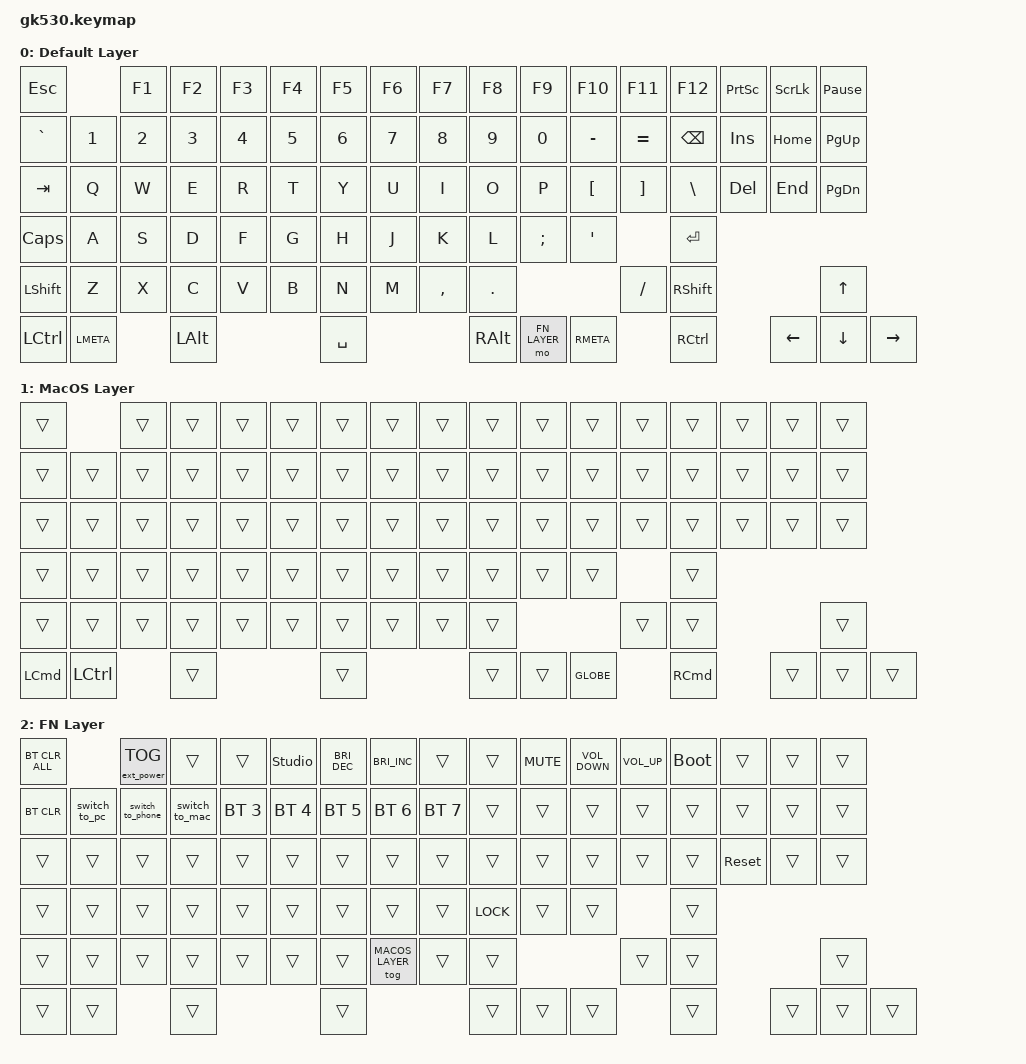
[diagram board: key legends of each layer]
#include <behaviors.dtsi>
#include <dt-bindings/zmk/keys.h>
#include <dt-bindings/zmk/bt.h>
#include <dt-bindings/zmk/ext_power.h>
#include <dt-bindings/zmk/outputs.h>

#include "./key_indices.dtsi"

#define DEFAULT_LAYER 0
#define MACOS_LAYER 1
#define FN_LAYER 2

#define BT_PROFILE_PC 0
#define BT_PROFILE_PHONE 1
#define BT_PROFILE_MAC 2

/ {
  behaviors {
    tog_on: tog_on {
      compatible = "zmk,behavior-toggle-layer";
      display-name = "Toggle On";
      #binding-cells = <1>;
      toggle-mode = "on";
    };

    tog_off: tog_off {
      compatible = "zmk,behavior-toggle-layer";
      display-name = "Toggle Off";
      #binding-cells = <1>;
      toggle-mode = "off";
    };
  };

  macros {
    switch_to_mac: switch_to_mac {
      compatible = "zmk,behavior-macro";
      #binding-cells = <0>;
      bindings
          = <&bt BT_SEL BT_PROFILE_MAC>
          , <&tog_on MACOS_LAYER>
          ;
    };

    switch_to_phone: switch_to_phone {
      compatible = "zmk,behavior-macro";
      #binding-cells = <0>;
      bindings
          = <&bt BT_SEL BT_PROFILE_PHONE>
          , <&tog_off MACOS_LAYER>
          ;
    };

    switch_to_pc: switch_to_pc {
      compatible = "zmk,behavior-macro";
      #binding-cells = <0>;
      bindings
          = <&bt BT_SEL BT_PROFILE_PC>
          , <&tog_off MACOS_LAYER>
          ;
    };
  };

  combos {
    compatible = "zmk,combos";
    combo_bootloader {
      timeout-ms = <100>;
      key-positions = <IDX_ESC IDX_F1 IDX_F12>;
      bindings = <&bootloader>;
    };
  };

  keymap {
    compatible = "zmk,keymap";

    default_layer {
      display-name = "Default Layer";
// ---------------------------------------------------------------------------------------------------------------------------
// | ESC | |  F1  |  F2  |  F3  |  F4  | |  F5  | F6  | F7  | F8  |  |  F9  | F10  | F11  | F12  |   | PRTSC | SCRLK | PAUSE |
// |-------------------------------------------------------------------------------------------------------------------------|
// |  `  |  1  |  2  |  3  |  4  |  5  |  6  |  7  |  8  |  9  |  0  |  -  |  =  |      BSPC     |   | INS   | HOME  | PGUP  |
// |  TAB    |  Q  |  W  |  E  |  R  |  T  |  Y  |  U  |  I  |  O  |  P  |  [  |  ]  |       \   |   | DEL   | END   | PGDN  |
// |  CAPS     |  A  |  S  |  D  |  F  |  G  |  H  |  J  |  K  |  L  |  ;  |  '  |       ENTER   |
// |    SHIFT      |  Z  |  X  |  C  |  V  |  B  |  N  |  M  |  ,  |  .  |  /  |          SHIFT  |   |       |  UP   |       |
// | CTRL | WIN | ALT |                 SPACE                  | ALT     | MO(2) |  MENU |  CTRL |   | LEFT  | DOWN  | RIGHT |
// ---------------------------------------------------------------------------------------------------------------------------
        bindings = <
&kp ESC     &kp F1 &kp F2 &kp F3 &kp F4      &kp F5 &kp F6 &kp F7 &kp F8     &kp F9 &kp F10 &kp F11 &kp F12          &kp PRINTSCREEN &kp SCROLLLOCK &kp PAUSE_BREAK
&kp GRAVE &kp N1 &kp N2 &kp N3 &kp N4 &kp N5 &kp N6 &kp N7 &kp N8 &kp N9 &kp N0 &kp MINUS &kp EQUAL &kp BACKSPACE    &kp INSERT &kp HOME &kp PG_UP
&kp TAB  &kp Q  &kp W  &kp E  &kp R  &kp T  &kp Y  &kp U  &kp I &kp O &kp P  &kp LBKT &kp RBKT      &kp BSLH         &kp DELETE &kp END &kp PG_DN
&kp CAPS  &kp A  &kp S  &kp D  &kp F  &kp G  &kp H  &kp J  &kp K &kp L &kp SEMI &kp SINGLE_QUOTE    &kp ENTER
&kp LSHFT  &kp Z  &kp X  &kp C  &kp V  &kp B  &kp N  &kp M  &kp COMMA &kp DOT &kp FSLH              &kp RSHFT                       &kp UP_ARROW
&kp LCTRL &kp LMETA &kp LALT               &kp SPACE        &kp  RALT  &mo FN_LAYER &kp  RMETA      &kp RCTRL        &kp LEFT_ARROW &kp DOWN_ARROW &kp RIGHT_ARROW
        >;
    };

    macos_layer {
      display-name = "MacOS Layer";
      bindings = <
&trans        &trans &trans &trans &trans &trans &trans &trans &trans &trans &trans &trans &trans   &trans &trans &trans
&trans &trans &trans &trans &trans &trans &trans &trans &trans &trans &trans &trans &trans &trans   &trans &trans &trans
&trans &trans &trans &trans &trans &trans &trans &trans &trans &trans &trans &trans &trans &trans   &trans &trans &trans
&trans &trans &trans &trans &trans &trans &trans &trans &trans &trans &trans &trans        &trans
&trans &trans &trans &trans &trans &trans &trans &trans &trans &trans               &trans &trans              &trans
&kp LCMD &kp LCTRL &trans               &trans                   &trans &trans &kp GLOBE &kp RCMD       &trans &trans &trans
      >;
    };

    fn_layer {
        display-name = "FN Layer";

        // ESC = BT_CLR_ALL
        // GRAVE = BT_CLR
        // N1 = switch_to_pc macro
        // N2 = switch_to_phone macro
        // N3 = switch_to_mac macro
        // N4-N8 = BT_SEL
        // DELETE = sys_reset
        // F1 = ext_power EP_TOG
        // F4 = studio_unlock
        // F5 = C_BRIGHTNESS_DEC
        // F6 = C_BRIGHTNESS_INC
        // F8 = ??? no key for microphone mute
        // F9 = C_MUTE
        // F10 = C_VOLUME_DOWN
        // F11 = C_VOLUME_UP
        // F12 = bootloader
        // L = K_LOCK
        // M = toggle Mac layer
        bindings = <
&bt BT_CLR_ALL &ext_power EP_TOG &trans &trans &studio_unlock &kp C_BRIGHTNESS_DEC &kp C_BRIGHTNESS_INC &trans &trans &kp C_MUTE &kp C_VOLUME_DOWN &kp C_VOLUME_UP &bootloader &trans &trans &trans
&bt BT_CLR &switch_to_pc &switch_to_phone &switch_to_mac &bt BT_SEL 3 &bt BT_SEL 4 &bt BT_SEL 5 &bt BT_SEL 6 &bt BT_SEL 7 &trans &trans &trans &trans &trans   &trans &trans &trans
&trans &trans &trans &trans &trans &trans &trans &trans &trans &trans &trans &trans &trans &trans   &sys_reset &trans &trans
&trans &trans &trans &trans &trans &trans &trans &trans &trans &kp K_LOCK &trans &trans &trans
&trans &trans &trans &trans &trans &trans &trans &tog MACOS_LAYER &trans &trans &trans &trans              &trans
&trans &trans &trans               &trans                      &trans &trans &trans &trans          &trans &trans &trans
        >;
    };
  };
};



//            bindings = <
//    &trans        &trans &trans &trans &trans &trans &trans &trans &trans &trans &trans &trans &trans   &trans &trans &trans
//    &trans &trans &trans &trans &trans &trans &trans &trans &trans &trans &trans &trans &trans &trans   &trans &trans &trans
//    &trans &trans &trans &trans &trans &trans &trans &trans &trans &trans &trans &trans &trans &trans   &trans &trans &trans
//    &trans &trans &trans &trans &trans &trans &trans &trans &trans &trans &trans &trans        &trans
//    &trans &trans &trans &trans &trans &trans &trans &trans &trans &trans               &trans &trans          &trans
//    &trans &trans &trans               &trans                      &trans &trans &trans &trans          &trans &trans &trans
//            >;
//
